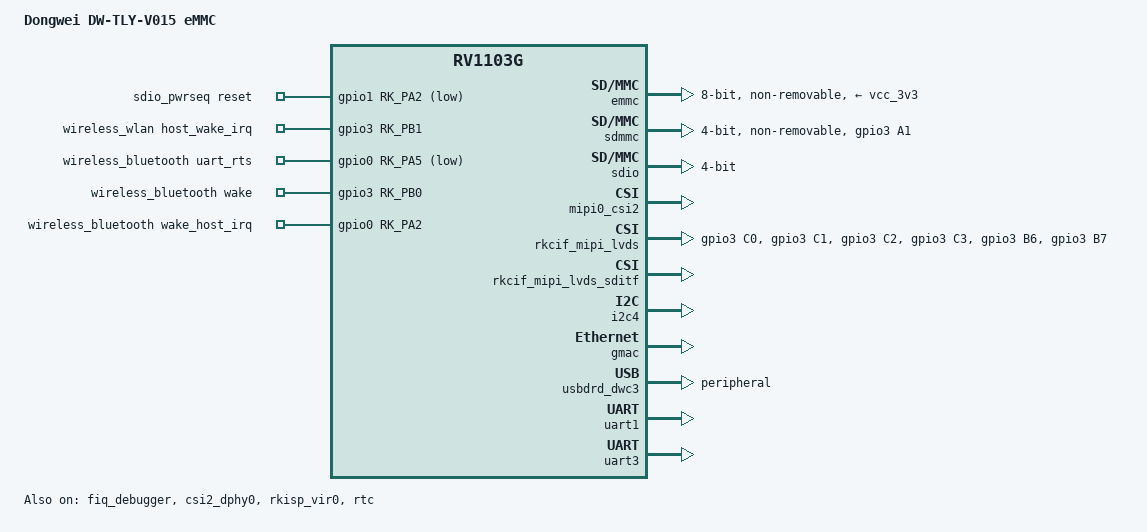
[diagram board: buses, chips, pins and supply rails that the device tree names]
// SPDX-License-Identifier: (GPL-2.0+ OR MIT)
/*
 * 东威 DW-TLY-V015 — 8-bit eMMC + AIC8800
 * WiFi/BT 模组兼容 AIC8800DC 与 AIC8800D80/D80L（同一 SDIO + UART1 脚位）
 * WiFi SDIO: GPIO3 sdmmc0 / &sdmmc（与官方 Ultra 相同）
 * GPIO2 sdmmc1m0 / &sdio 为 SD 卡，勿用于 WiFi
 */

/dts-v1/;
#include "rv1106.dtsi"
#include "rv1106-luckfox-pico-ultra-ipc.dtsi"
#include <dt-bindings/input/input.h>
#include <dt-bindings/display/media-bus-format.h>

/ {
	model = "Dongwei DW-TLY-V015 eMMC";
	compatible = "dongwei,dw-tly-v015", "rockchip,rv1103g-38x38-ipc-v10", "rockchip,rv1106g3";

	restart-poweroff {
		compatible = "restart-poweroff";
	};

	/* WL_EN: ACTIVE_LOW 复位低有效；低保持 100ms 再拉高，再等 500ms 扫 SDIO */
	sdio_pwrseq: sdio-pwrseq {
		compatible = "mmc-pwrseq-simple";
		reset-gpios = <&gpio1 RK_PA2 GPIO_ACTIVE_LOW>;
		pre-power-on-delay-ms = <100>;
		post-power-on-delay-ms = <500>;
	};

	/* WL_HOST_WAKE → GPIO3_B1 */
	wireless_wlan: wireless-wlan {
		compatible = "wlan-platdata";
		WIFI,host_wake_irq = <&gpio3 RK_PB1 GPIO_ACTIVE_HIGH>;
		status = "okay";
	};

	wireless_bluetooth: wireless-bluetooth {
		compatible = "bluetooth-platdata";
		uart_rts_gpios = <&gpio0 RK_PA5 GPIO_ACTIVE_LOW>;
		pinctrl-names = "default", "rts_gpio";
		pinctrl-0 = <&uart1m0_rtsn>;
		pinctrl-1 = <&uart1_gpios>;
		/* BT_WAKE_HOST → GPIO3_B0 */
		BT,wake_gpio     = <&gpio3 RK_PB0 GPIO_ACTIVE_HIGH>;
		/* HOST_WAKE_BT → GPIO0_A2 */
		BT,wake_host_irq = <&gpio0 RK_PA2 GPIO_ACTIVE_HIGH>;
		status = "okay";
	};
};

/**********V015: KLM8G1GETF-B041 eMMC；U17 VCCQ/焊球映射待硬件签核，禁止直接烧录**********/
&sfc {
	status = "disabled";
};

&emmc {
	bus-width = <8>;
	cap-mmc-highspeed;
	non-removable;
	no-sdio;
	no-sd;
	pinctrl-names = "default";
	pinctrl-0 = <&emmc_bus8 &emmc_clk &emmc_cmd>;
	vmmc-supply = <&vcc_3v3>;
	vqmmc-supply = <&vcc_3v3>;
	memory-region-ecsd = <&mmc_ecsd>;
	rockchip,default-sample-phase = <90>;
	post-power-on-delay-ms = <0>;
	status = "okay";
};

&fiq_debugger {
	rockchip,irq-mode-enable = <1>;
	status = "okay";
};

/********* CPU 动态调频/调压：本板不需要，整体撤销（无软件控制路径）*********
 * 硬件事实（V015 网表 2026-09-29，设计证据）：U2 CPU_DVDD(pin115) 与 DVDD/PMU 同接
 * VDD_0V9；该轨由 U57 SY8088IAAC 经 L18 产生，FB 分压 R316=100k（VDD_0V9→FB）/
 * R315=200k（FB→GND），网表中不存在从 SoC 到 U57 的 PWM/I2C 调压连接。即 CPU 电压
 * 不可调、也不应随频率变化。**该电压按网表分压比推导，未做上板实测。**
 *
 * 撤销项与理由（与 V020 板 rv1106-dw-tly-v020-ipc.dtsi 的做法一致；本版是对此前
 * “只删 cpu-supply”的纠正：需求是本板不要 CPU 动态调频，而不是在固定轨上继续
 * 保留调频能力）：
 *   1) cpu0 的 operating-points-v2：rv1106.dtsi 的 cpu0-opp-table 是按可调 rail
 *      设计的。本板固定 0.9V，而表中 408M~1296M 额定 850~875mV（低于 0.9V），
 *      仅 1416M/1512M/1608M 额定 925/975/1000mV（高于 0.9V）——即整表并非同一侧，
 *      高频档要求高于本板固定轨、低频档低于它。保留绑定就意味着 cpufreq/OPP 仍按
 *      “可调压换档”模型工作：一旦有任何路径触发 set_rate，要求电压高于 0.9V 的档位
 *      对固定轨的 set_voltage 必然失败（另外低频档会请求低于 0.9V 的电压，对固定轨
 *      同样不可实现）。本板不做 DVFS，直接去掉绑定。
 *   2) cpu0 的 cpu-supply：去掉后 drivers/cpufreq/rockchip-cpufreq.c 的
 *      rockchip_cpufreq_cluster_init() 在 `of_find_property(dev->of_node,
 *      "cpu-supply", NULL)` 处返回 -ENOENT（同函数对 cpu0-supply 的 else-if 也
 *      不命中），rockchip_cpufreq_driver_init() 随即放弃注册 cpufreq-dt；同时
 *      cpufreq-dt.c 的 find_supply_name() 返回 NULL，不再 dev_pm_opp_set_regulators()。
 *   3) 本板继承的 vdd_arm 虚拟 fixed regulator 与 cpu0-opp-table 节点：对固定硬件
 *      轨没有软件控制意义，一并删除。
 *
 * 内核配置层面同时收口：rv1106-v015.config 关掉 CONFIG_CPU_FREQ，进而由
 * olddefconfig 置 n CPUFREQ_DT / ARM_ROCKCHIP_CPUFREQ / 各 governor /
 * CPU_FREQ_THERMAL（见该文件注释）。这样即使 DTS 日后被误改，内核里也没有
 * cpufreq 子系统从 cpufreq 路径调压/调频。（本次只论证到 cpufreq 子系统不在内核
 * 这一层；其它时钟驱动路径是否会改 CPU 时钟不在本证据范围内。）
 *
 * 频率：本板不指定任何运行频率。撤销 cpufreq 后内核不再有 cpufreq 侧
 * clk_set_rate(ARMCLK) 换档通路；ARMCLK 的静态运行值来自内核 clk 框架在 cru
 * provider 初始化时应用的通用 rv1106.dtsi cru 节点 assigned-clock-rates
 * ARMCLK=1104000000（clk-rv1106.c CLK_OF_DECLARE → drivers/clk/clk.c of_clk_init
 * 调 of_clk_set_defaults，见 clk-conf.c）。因此**预期**运行 1.104GHz，须上板确认；
 * 它并非“bootloader 默认”。后续若实测 1.104GHz@0.9V 不稳，应在板级 DTS 覆盖
 * `&cru` 的 assigned-clock-rates 降频，而不是去改通用 rv1106.dtsi。
 *
 * 热保护保留，不受本改动影响：
 *   - tsadc 仍在（rv1106.dtsi tsadc@ff3c8000，rockchip,hw-tshut-temp=120℃、
 *     rockchip,hw-tshut-mode=0:CRU），超温直接硬件复位 SoC，与 cpufreq 无关；
 *   - soc-thermal 的 critical trip 仍在（115℃，见 rv1106.dtsi soc-crit），由
 *     thermal core 直接处理（orderly_poweroff + emergency poweroff），不经过
 *     cpufreq cooling（drivers/thermal/thermal_core.c handle_critical_trips）；
 *   - CONFIG_THERMAL / CONFIG_ROCKCHIP_THERMAL 未改。
 */
&cpu0 {
	/delete-property/ operating-points-v2;
	/delete-property/ cpu-supply;
};

/delete-node/ &vdd_arm;
/delete-node/ &cpu0_opp_table;

/**********SDIO-WIFI on GPIO3 sdmmc0（与官方 Ultra 一致）**********
 * CLK/CMD: GPIO3_A4/A5  D0-D3: GPIO3_A3/A2/A7/A6  DET: GPIO3_A1
 *
 * 注意：RV1106 的 GPIO3 IOC 有 force_jtag_sdmmc（0xff538000 + 0x202f4），上电即为 1，
 * 会把 SDMMC0 的 GPIO3_A1..A7 交给 JTAG，导致 4 位传输每个块报 SBE（1 位不受影响）。
 * V015 的 Wi-Fi SDIO 正好在这组脚/这个控制器上，因此本板必须靠内核 grf.c 的
 * "rockchip,rv1106-ioc" 条目在 postcore_initcall 阶段清掉该位；配套要求内核开启
 * CONFIG_ROCKCHIP_GRF（见 arch/arm/configs/rv1106-v015.config）。
 * 该根因在 DW-TLY-V020 实板实测确认；V015 尚无实板，上板后请 devmem 读 0xff5582f4 复核。
 */
&sdmmc {
	max-frequency = <50000000>;
	bus-width = <4>;
	cap-sd-highspeed;
	cap-sdio-irq;
	keep-power-in-suspend;
	non-removable;
	rockchip,default-sample-phase = <90>;
	supports-sdio;
	mmc-pwrseq = <&sdio_pwrseq>;
	pinctrl-names = "default";
	pinctrl-0 = <&sdmmc0_clk &sdmmc0_cmd &sdmmc0_bus4 &sdmmc0_det>;
	status = "okay";
};

/**********SD 卡 TF（GPIO2 sdmmc1m0 / &sdio，与原理图一致）**********
 * D0-D3: GPIO2_A1/A0/A5/A4  CLK: GPIO2_A2  CMD: GPIO2_A3
 */
&sdio {
	max-frequency = <50000000>;
	no-sdio;
	no-mmc;
	supports-sd;
	bus-width = <4>;
	cap-mmc-highspeed;
	cap-sd-highspeed;
	disable-wp;
	pinctrl-names = "default";
	pinctrl-0 = <&sdmmc1m0_cmd &sdmmc1m0_clk &sdmmc1m0_bus4>;
	status = "okay";
};

/**********CSI 2-lane（GPIO3_B0/B1 留给 WiFi/BT 唤醒，不用 mipi_pins 的 d3）**********
 * 官方 Ultra dtsi 默认 okay；此前为避让唤醒脚整段关掉。
 * 传感器 data-lanes = <1 2>，只需 ck0+d0+d1。勿开 dphy1/mipi1/vir1，勿重开 LCD。
 * i2c4 保持 dtsi 的 i2c4m2（GPIO3_PC7/PD0），勿改 m0（与 SD GPIO2 冲突）。
 */
&csi2_dphy0 {
	status = "okay";
};

&mipi0_csi2 {
	status = "okay";
};

&rkcif_mipi_lvds {
	status = "okay";
	pinctrl-names = "default";
	pinctrl-0 = <&mipi_pins_2lane>;
};

&rkcif_mipi_lvds_sditf {
	status = "okay";
};

&rkisp_vir0 {
	status = "okay";
};

&i2c4 {
	status = "okay";
};

/**********自研板无 LCD/触摸：释放 GPIO2 给 SD 卡 **********
 * Ultra dtsi 的 RGB 使用 lcd_d8~d13 = GPIO2_A0~A5，与 sdmmc1m0 冲突
 */
/ {
	panel: panel {
		status = "disabled";
	};

	backlight: backlight {
		status = "disabled";
	};
};

&display_subsystem {
	status = "disabled";
};

&rgb {
	status = "disabled";
};

&rgb_in_vop {
	status = "disabled";
};

&route_rgb {
	status = "disabled";
};

&vop {
	status = "disabled";
};

&pwm1 {
	status = "disabled";
};

&i2c3 {
	status = "disabled";
};

/**********ETH**********/
&gmac {
	status = "okay";
};

/**********USB**********/
&usbdrd_dwc3 {
	status = "okay";
	dr_mode = "peripheral";
};

/**********RTC**********/
&rtc {
	status = "okay";
};

/**********BT**********/
&uart1 {
	status = "okay";
	pinctrl-names = "default";
	pinctrl-0 = <&uart1m0_xfer &uart1m0_ctsn>;
};

/**********ESP32-C3（U5）UART3 M0：GPIO1_A0 TX / GPIO1_A1 RX**********
 * 覆盖 ipc dtsi 的 <&uart3m0_xfer &uart3m1_xfer>。uart3m1 是 GPIO1_D0/D1，本板不用。
 * U5 ESP_RX/ESP_TX 只接调试座，不是和 1106 通讯的那对。
 * 别名 serial3（rv1106.dtsi）→ /dev/ttyS3。勿改 &uart1（AIC HCI / ttyS1）。
 */
&uart3 {
	status = "okay";
	pinctrl-names = "default";
	pinctrl-0 = <&uart3m0_xfer>;
};

&pinctrl {
	sdmmc0 {
		sdmmc0_det: sdmmc0-det {
			rockchip,pins = <3 RK_PA1 1 &pcfg_pull_down>;
		};
	};

	wireless-bluetooth {
		uart1_gpios: uart1-gpios {
			rockchip,pins = <0 RK_PA5 RK_FUNC_GPIO &pcfg_pull_none>;
		};
	};

	mipi {
		mipi_pins_2lane: mipi-pins-2lane {
			rockchip,pins =
				<3 RK_PC0 2 &pcfg_pull_none>,
				<3 RK_PC1 2 &pcfg_pull_none>,
				<3 RK_PC2 2 &pcfg_pull_none>,
				<3 RK_PC3 2 &pcfg_pull_none>,
				<3 RK_PB6 2 &pcfg_pull_none>,
				<3 RK_PB7 2 &pcfg_pull_none>;
		};
	};
};

/********** ram oops / pstore（DW-SDK-003）**********
 * 沿用 V014 的 256MB DRAM 布局假设；V015 实际容量须由 DDR 配置及实板验证。
 * 禁止复制 rv1106-thunder-boot.dtsi 的 ramoops@0x7c000 / 0x3000：那是 128MB thunder-boot
 * 板上 MCU log（record/console 均为 0），不是内核 console，且 0x7c000 落在本板
 * SPL BSS/栈 0x001fe000 与 U-Boot TEXT 0x00200000 之前，会被下次启动冲掉。
 *
 * U-Boot ENV_MEM_LAYOUT（rv1106_common.h，非 CONFIG_ENV_MEM_LAYOUT 时）：
 *   Image   0–8MB     kernel_addr_r=0x00008000；内核 TEXT_OFFSET=0x00208000
 *   zImage  8–12MB    kernel_addr_c=0x00808000
 *   fdt    12–13MB    fdt_addr_r=0x00c00000（本板 dtb ≪ 1MB）
 *   （空隙 13–14MB） ← ramoops 放这里
 *   ramdisk 14MB+     ramdisk_addr_r=0x00e00000；CONFIG_SYS_LOAD_ADDR=0x00e00800
 * SPL TEXT 0x0、BSS/栈 0x001fe000；U-Boot TEXT 0x00200000、INIT_SP 0x00400000。
 * dtsi reserved-memory：mmc_ecsd@0x3f000 size 4K；drm-logo@0 size 0（占位）。
 * CMA：bootargs rk_dma_heap_cma=66M，且 DT linux,cma 10M reusable+inactive，均无
 * 固定基址，arm_memblock_init 里 dma_contiguous_reserve 与 rk_dma_heap_cma_setup
 * 从 DRAM 高端切，远离 13MB。ramoops 256KB 不占 CMA。
 * 不设 no-map：ramoops 需要内核映射。
 */
&reserved_memory {
	ramoops@d00000 {
		compatible = "ramoops";
		reg = <0x00d00000 0x00040000>; /* 13MB，256KB */
		record-size = <0x8000>;        /* 32KB × 约 4 条 oops/panic */
		console-size = <0x20000>;      /* 128KB printk，watchdog 硬复位也能留尾 */
		ftrace-size = <0x0>;
		pmsg-size = <0x0>;
	};
};

/**********SPI**********/
&spi0 {
	status = "disabled";
	spidev@0 {
		spi-max-frequency = <50000000>;
	};
};
